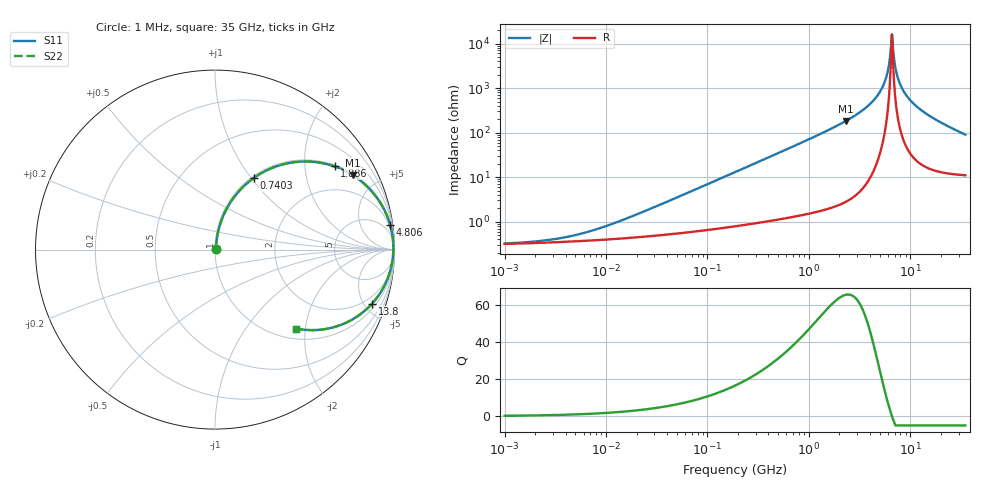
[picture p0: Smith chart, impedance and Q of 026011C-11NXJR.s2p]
# MHz  S  MA  R  50
!Freq  MagS11  AngS11  MagS21  AngS21  MagS12  AngS12  MagS22  AngS22
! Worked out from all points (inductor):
!   1053 points, 1 MHz to 35 GHz, reference 50 ohm
!   read as one part in series: L = 11 nH near 19.21 MHz
!   highest Q = 65.3 at 2.325 GHz (marker M1), where L = 12.6 nH
!   self-resonance near 6.543 GHz
!   S11 on the Smith chart (normalised r, x): 1 MHz: 1.01, +0.00; 740.3 MHz: 1.03, +1.04; 1.886 GHz: 1.05, +2.84; 4.806 GHz: 1, +14; 13.8 GHz: 1.35, -5.66; 35 GHz: 1.22, -1.79
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1  0.003234 12.3  0.9968 -0.0  0.9968 -0.0  0.003234 12.3
5.761848  0.005408 47.0  0.9963 -0.2  0.9963 -0.2  0.005408 47.0
32.87019  0.02313 76.5  0.9948 -1.3  0.9948 -1.3  0.02313 76.5
187.5178  0.1279 79.2  0.9841 -7.3  0.9841 -7.3  0.1279 79.2
415.6737  0.2747 72.0  0.9517 -15.9  0.9517 -15.9  0.2747 72.0
740.2735  0.4555 61.5  0.8788 -27.1  0.8788 -27.1  0.4555 61.5
1080.449  0.6029 51.8  0.7856 -37.1  0.7856 -37.1  0.6029 51.8
1886.259  0.8115 34.9  0.5716 -54.2  0.5716 -54.2  0.8115 34.9
2324.61  0.8724 28.4  0.4757 -60.7  0.4757 -60.7  0.8724 28.4
3565.901  0.9564 16.0  0.2749 -73.0  0.2749 -73.0  0.9564 16.0
4806.295  0.9854 8.0  0.1396 -80.0  0.1396 -80.0  0.9854 8.0
5635.759  0.9923 4.0  0.06948 -81.7  0.06948 -81.7  0.9923 4.0
6163.747  0.9938 1.7  0.03068 -77.5  0.03068 -77.5  0.9938 1.7
6414.02  0.9939 0.7  0.01413 -64.2  0.01413 -64.2  0.9939 0.7
6674.455  0.9937 -0.3  0.00774 35.5  0.00774 35.5  0.9937 -0.3
6876.697  0.9933 -1.0  0.01868 68.6  0.01868 68.6  0.9933 -1.0
7372.75  0.9917 -2.7  0.04834 78.8  0.04834 78.8  0.9917 -2.7
8307.8  0.9865 -5.7  0.1002 79.4  0.1002 79.4  0.9865 -5.7
10238.47  0.9694 -11.1  0.1923 75.4  0.1923 75.4  0.9694 -11.1
13799.9  0.9254 -19.0  0.3263 67.5  0.3263 67.5  0.9254 -19.0
22248.57  0.8002 -32.4  0.5371 52.9  0.5371 52.9  0.8002 -32.4
35000  0.6313 -44.2  0.7019 38.8  0.7019 38.8  0.6313 -44.2
